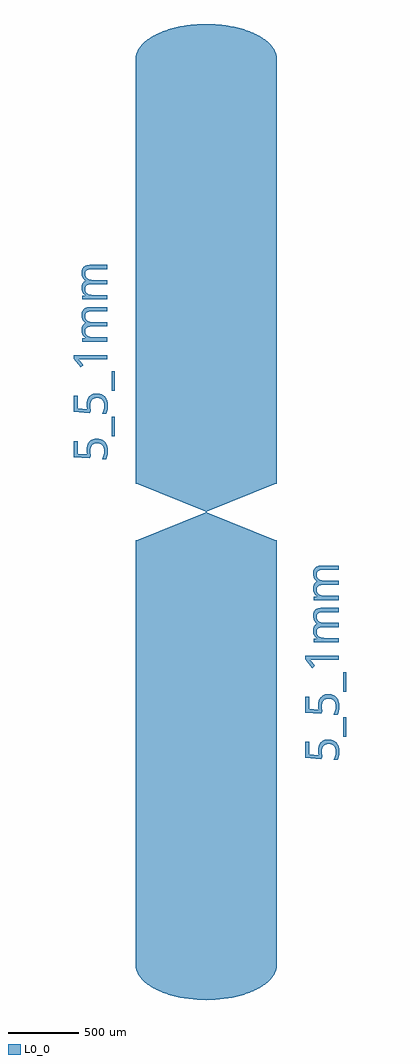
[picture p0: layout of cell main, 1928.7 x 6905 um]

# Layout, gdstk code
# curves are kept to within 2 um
import gdstk
lib = gdstk.Library(unit=1e-6, precision=1e-09)
def R(c, l, rs):  # rectangles x0, y0, x1, y1
    for r in rs: c.add(gdstk.rectangle(r[:2], r[2:], *l))
def P(c, l, *ps):  # polygons
    for p in ps: c.add(gdstk.Polygon(p, *l))
L0_0 = (0, 0)

main = lib.new_cell('main')
R(main, L0_0, [(-1476,-3774,-476,-770), (-8.1,-2163.3,14.7,-2024.9), (-8.1,-1842.6,14.7,-1704.3), (-978.5,-774,-973.5,-369), (-1476,-373,-476,2631), (-1646.1,-36.1,-1623.3,102.3), (-1646.1,284.6,-1623.3,422.9)])
P(main, L0_0, [(-476,2631),(-479.9,2662.3),(-488,2685.5),(-517.1,2730.3),(-562.5,2771.5),(-622.4,2807.8),(-695,2837.8),(-777.4,2860.4),(-882.3,2876.6),(-976,2881),(-1069.7,2876.6),(-1160.1,2863.4),(-1243.9,2842.1),(-1329.6,2807.8),(-1389.5,2771.5),(-1434.9,2730.3),(-1464,2685.5),(-1472.1,2662.3),(-1476,2631)],
  [(-476,2631),(-479.9,2662.3),(-488,2685.5),(-517.1,2730.3),(-562.5,2771.5),(-622.4,2807.8),(-695,2837.8),(-777.4,2860.4),(-882.3,2876.6),(-976,2881),(-1069.7,2876.6),(-1160.1,2863.4),(-1243.9,2842.1),(-1329.6,2807.8),(-1389.5,2771.5),(-1434.9,2730.3),(-1464,2685.5),(-1472.1,2662.3),(-1476,2631)],
  [(-1476,-3774),(-1472.1,-3805.3),(-1464,-3828.5),(-1434.9,-3873.3),(-1389.5,-3914.5),(-1329.6,-3950.8),(-1243.9,-3985.1),(-1160.1,-4006.4),(-1069.7,-4019.6),(-976,-4024),(-882.3,-4019.6),(-791.9,-4006.4),(-708.1,-3985.1),(-622.4,-3950.8),(-562.5,-3914.5),(-517.1,-3873.3),(-488,-3828.5),(-479.9,-3805.3),(-476,-3774)],
  [(-1476,-3774),(-1472.1,-3805.3),(-1464,-3828.5),(-1434.9,-3873.3),(-1389.5,-3914.5),(-1329.6,-3950.8),(-1243.9,-3985.1),(-1160.1,-4006.4),(-1069.7,-4019.6),(-976,-4024),(-882.3,-4019.6),(-791.9,-4006.4),(-708.1,-3985.1),(-622.4,-3950.8),(-562.5,-3914.5),(-517.1,-3873.3),(-488,-3828.5),(-479.9,-3805.3),(-476,-3774)],
  [(-1476,-369),(-976,-568),(-978.5,-569),(-973.5,-569),(-976,-568),(-476,-369)],
  [(-1476,-774),(-476,-774),(-976,-575),(-973.5,-574),(-978.5,-574),(-976,-575)],
  [(-1822,-134.9),(-1818.7,-164.3),(-1886.9,-158),(-1886.9,-71.4),(-1914,-71.4),(-1914,-183.7),(-1802,-192.6),(-1792.7,-178),(-1796.8,-135.1),(-1790.9,-108.5),(-1784.6,-98.7),(-1773,-89.6),(-1746.5,-84.4),(-1728.2,-87.4),(-1715.9,-93.8),(-1706.8,-103.4),(-1700.3,-118),(-1699.4,-157.1),(-1704.7,-179.2),(-1713.6,-197.7),(-1685.6,-197.7),(-1679.4,-184.3),(-1672.7,-141.4),(-1678.1,-103),(-1693.9,-75.9),(-1707.8,-64.8),(-1722,-58.4),(-1738.1,-54.8),(-1762.2,-54.5),(-1779.8,-58.7),(-1794.4,-66.8),(-1807.6,-80.3),(-1815.5,-94.9),(-1820.9,-114.8)],
  [(-1822,185.8),(-1818.7,156.3),(-1886.9,162.7),(-1886.9,249.3),(-1914,249.3),(-1914,137),(-1802,128),(-1792.7,142.7),(-1796.8,185.6),(-1790.9,212.2),(-1784.6,221.9),(-1773,231.1),(-1746.5,236.2),(-1730.3,233.9),(-1715.9,226.8),(-1706.8,217.3),(-1700.9,204.7),(-1698,184.3),(-1699.4,163.6),(-1704.7,141.5),(-1713.6,123),(-1685.6,123),(-1679.4,136.4),(-1672.7,179.3),(-1678.1,217.7),(-1693.9,244.7),(-1707.8,255.9),(-1722,262.2),(-1741.5,266.2),(-1762.2,266.2),(-1779.8,261.9),(-1794.4,253.8),(-1806,242.5),(-1815.5,225.7),(-1820.9,205.9)],
  [(-1676,538),(-1914,538),(-1914,513.6),(-1865.3,451.3),(-1845.3,466.9),(-1883.4,510.7),(-1676,509.3)],
  [(-1676,848.2),(-1676,877.9),(-1805.6,877.3),(-1831.4,870.7),(-1848,857.1),(-1856.6,836.4),(-1856.2,804.6),(-1846.6,782.9),(-1828.3,765.2),(-1843.8,755.3),(-1852.2,743.4),(-1856.8,728.2),(-1857.6,706.2),(-1849.9,682.6),(-1830.6,662.5),(-1854.7,658.3),(-1854.7,634.2),(-1676,634.2),(-1676,663.8),(-1771.7,663.8),(-1803.2,667.5),(-1825.1,680.7),(-1830.7,690.5),(-1833.4,705.5),(-1828.2,727.4),(-1809.6,739.1),(-1676,741.1),(-1676,770.9),(-1782.9,771.1),(-1815.2,779),(-1826.9,790),(-1832.8,805.9),(-1832.4,824.3),(-1824.8,838.4),(-1812.6,845.3),(-1799.1,847.9)],
  [(-1676,1146.9),(-1676,1176.5),(-1805.6,1175.9),(-1827,1171.3),(-1845.3,1159),(-1856.6,1135),(-1857.1,1108),(-1846.6,1081.5),(-1828.3,1063.9),(-1843.8,1054),(-1852.2,1042),(-1857.3,1023.4),(-1857.6,1004.8),(-1849.9,981.3),(-1830.6,961.2),(-1854.7,956.9),(-1854.7,932.9),(-1676,932.9),(-1676,962.5),(-1771.7,962.5),(-1803.2,966.2),(-1825.1,979.3),(-1830.7,989.1),(-1833.4,1004.1),(-1828.2,1026),(-1820.6,1033.2),(-1809.6,1037.8),(-1676,1039.8),(-1676,1069.6),(-1782.9,1069.8),(-1815.2,1077.7),(-1826.9,1088.6),(-1832.8,1104.6),(-1832.4,1123),(-1824.8,1137),(-1812.6,1144),(-1799.1,1146.6)],
  [(-184,-2262.1),(-180.8,-2291.5),(-249,-2285.2),(-249,-2198.6),(-276,-2198.6),(-276,-2310.9),(-164,-2319.8),(-154.7,-2305.2),(-158.9,-2262.2),(-152.9,-2235.7),(-144.1,-2223.2),(-135.1,-2216.7),(-108.5,-2211.6),(-90.3,-2214.6),(-78,-2221),(-67.8,-2232.2),(-62.9,-2243.2),(-60.1,-2261.1),(-61.2,-2282.7),(-67.8,-2309.4),(-75.6,-2324.9),(-47.6,-2324.9),(-42.4,-2314.2),(-34.9,-2273.6),(-39.1,-2233.4),(-55.9,-2203.1),(-81,-2186.7),(-100.1,-2182),(-124.3,-2181.7),(-141.8,-2185.9),(-156.5,-2194),(-168,-2205.4),(-177.6,-2222.1),(-182.9,-2242)],
  [(-184,-1941.4),(-180.8,-1970.9),(-249,-1964.5),(-249,-1877.9),(-276,-1877.9),(-276,-1990.2),(-164,-1999.2),(-154.7,-1984.5),(-158.9,-1941.6),(-151.1,-1911.5),(-135.1,-1896.1),(-108.5,-1891),(-90.3,-1894),(-78,-1900.4),(-67.8,-1911.5),(-62.9,-1922.5),(-60.1,-1940.5),(-61.2,-1962.1),(-67.8,-1988.7),(-75.6,-2004.2),(-47.6,-2004.2),(-42.4,-1993.5),(-34.9,-1952.9),(-39.1,-1912.7),(-55.9,-1882.5),(-67.3,-1872.9),(-84,-1865),(-103.6,-1861),(-124.3,-1861.1),(-141.8,-1865.3),(-156.5,-1873.4),(-168,-1884.7),(-177.6,-1901.5),(-182.9,-1921.3)],
  [(-38,-1589.2),(-276,-1589.2),(-276,-1613.6),(-227.3,-1676),(-207.3,-1660.3),(-245.4,-1616.5),(-38,-1617.8)],
  [(-38,-1279),(-38,-1249.4),(-167.7,-1249.9),(-189,-1254.6),(-207.4,-1266.8),(-218.6,-1290.8),(-218.9,-1319.5),(-210.4,-1341.7),(-190.4,-1362),(-205.8,-1371.9),(-214.2,-1383.8),(-218.9,-1399),(-219.9,-1418.1),(-213.4,-1442.1),(-192.7,-1464.7),(-216.8,-1468.9),(-216.8,-1493),(-38,-1493),(-38,-1463.4),(-133.7,-1463.4),(-160.7,-1460.8),(-175.2,-1455.9),(-186,-1447.9),(-193.4,-1434.8),(-195.4,-1421.8),(-190.2,-1399.8),(-171.6,-1388.1),(-38,-1386.1),(-38,-1356.3),(-145,-1356.1),(-166.2,-1352.8),(-178.8,-1347.2),(-189.9,-1335.7),(-195.1,-1319.1),(-194.5,-1302.9),(-186.9,-1288.8),(-174.7,-1281.9),(-161.1,-1279.3)],
  [(-38,-980.3),(-38,-950.7),(-167.7,-951.3),(-189,-955.9),(-207.4,-968.2),(-218.6,-992.2),(-218.9,-1020.8),(-208.6,-1045.7),(-190.4,-1063.3),(-203.6,-1071.2),(-212.8,-1082.5),(-218.9,-1100.4),(-219.9,-1119.4),(-213.4,-1143.4),(-192.7,-1166),(-216.8,-1170.3),(-216.8,-1194.3),(-38,-1194.3),(-38,-1164.7),(-133.7,-1164.7),(-163,-1161.6),(-177,-1156.3),(-187.2,-1147.9),(-193.4,-1136.2),(-195.4,-1123.1),(-190.2,-1101.1),(-171.6,-1089.4),(-38,-1087.4),(-38,-1057.6),(-145,-1057.4),(-164.1,-1054.7),(-178.8,-1048.6),(-189.9,-1037.1),(-195.1,-1020.5),(-194.5,-1004.2),(-186.9,-990.2),(-174.7,-983.2),(-161.1,-980.6)])

lib.write_gds('main.gds')
